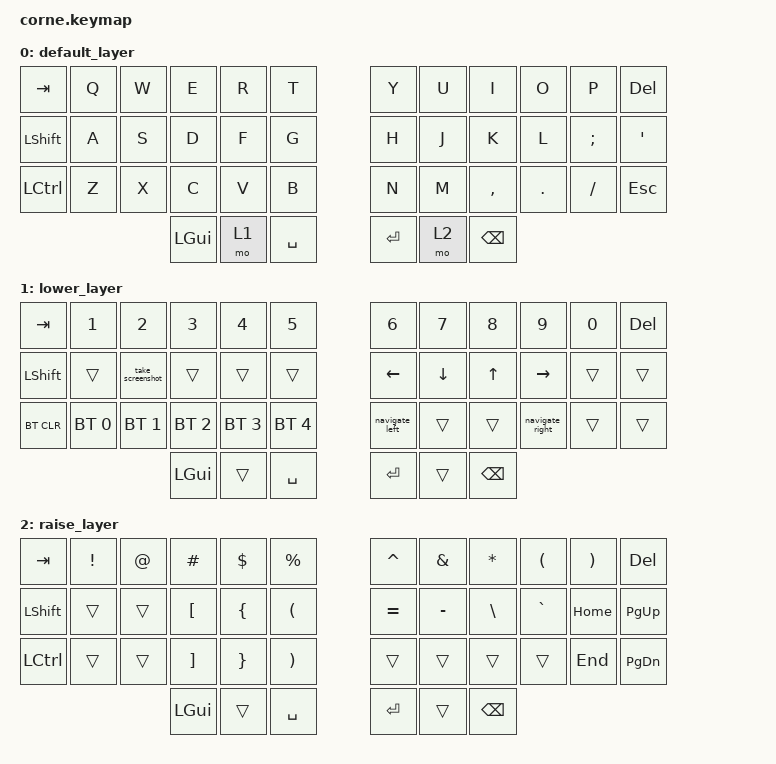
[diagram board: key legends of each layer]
/*
 * Copyright (c) 2020 The ZMK Contributors
 *
 * SPDX-License-Identifier: MIT
 */

#include <behaviors.dtsi>
#include <dt-bindings/zmk/keys.h>
#include <dt-bindings/zmk/bt.h>

/ {
        macros {
                navigate_left: navigate_left {
                        compatible = "zmk,behavior-macro";
                        #binding-cells = <0>;
                        bindings
                                = <&macro_press &kp LEFT_CONTROL>
                                , <&macro_tap &kp LEFT_ARROW>
                                , <&macro_release &kp LEFT_CONTROL>
                                ;
                };
                navigate_right: navigate_right {
                        compatible = "zmk,behavior-macro";
                        #binding-cells = <0>;
                        bindings
                                = <&macro_press &kp LEFT_CONTROL>
                                , <&macro_tap &kp RIGHT_ARROW>
                                , <&macro_release &kp LEFT_CONTROL>
                                ;
                };
                take_screenshot: take_screenshot {
                        compatible = "zmk,behavior-macro";
                        #binding-cells = <0>;
                        bindings
                                = <&macro_press &kp LEFT_COMMAND &kp LEFT_SHIFT>
                                , <&macro_tap &kp NUMBER_4>
                                , <&macro_release &kp LEFT_COMMAND &kp LEFT_SHIFT>
                                ;
                };
        };
        keymap {
                compatible = "zmk,keymap";

                default_layer {
                        bindings = <
   &kp TAB   &kp Q &kp W &kp E &kp R &kp T   &kp Y &kp U  &kp I     &kp O   &kp P    &kp DEL
   &kp LSHFT &kp A &kp S &kp D &kp F &kp G   &kp H &kp J  &kp K     &kp L   &kp SEMI &kp SQT
   &kp LCTRL &kp Z &kp X &kp C &kp V &kp B   &kp N &kp M  &kp COMMA &kp DOT &kp FSLH &kp ESC
                  &kp LGUI &mo 1 &kp SPACE   &kp RET &mo 2 &kp BSPC
                        >;
                };
                lower_layer {
                        bindings = <
   &kp TAB    &kp N1       &kp N2       &kp N3       &kp N4       &kp N5         &kp N6   &kp N7   &kp N8 &kp N9    &kp N0 &kp DEL
   &kp LSHFT  &trans       &take_screenshot       &trans       &trans       &trans         &kp LEFT &kp DOWN &kp UP &kp RIGHT &trans &trans
   &bt BT_CLR &bt BT_SEL 0 &bt BT_SEL 1 &bt BT_SEL 2 &bt BT_SEL 3 &bt BT_SEL 4   &navigate_left &trans &trans &navigate_right &trans &trans
                        &kp LGUI     &trans       &kp SPACE      &kp RET  &trans   &kp BSPC
                        >;
                };
                raise_layer {
                        bindings = <
   &kp TAB   &kp EXCL &kp AT &kp HASH &kp DLLR &kp PRCNT   &kp CARET &kp AMPS  &kp ASTRK &kp LPAR  &kp RPAR &kp DEL
   &kp LSHFT &trans   &trans &kp LBKT &kp LBRC &kp LPAR    &kp EQUAL &kp MINUS &kp BSLH  &kp GRAVE &kp HOME &kp PAGE_UP
   &kp LCTRL &trans   &trans &kp RBKT &kp RBRC &kp RPAR    &trans    &trans    &trans    &trans    &kp END  &kp PAGE_DOWN
                        &kp LGUI     &trans       &kp SPACE      &kp RET  &trans   &kp BSPC
                        >;
                };
        };
};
